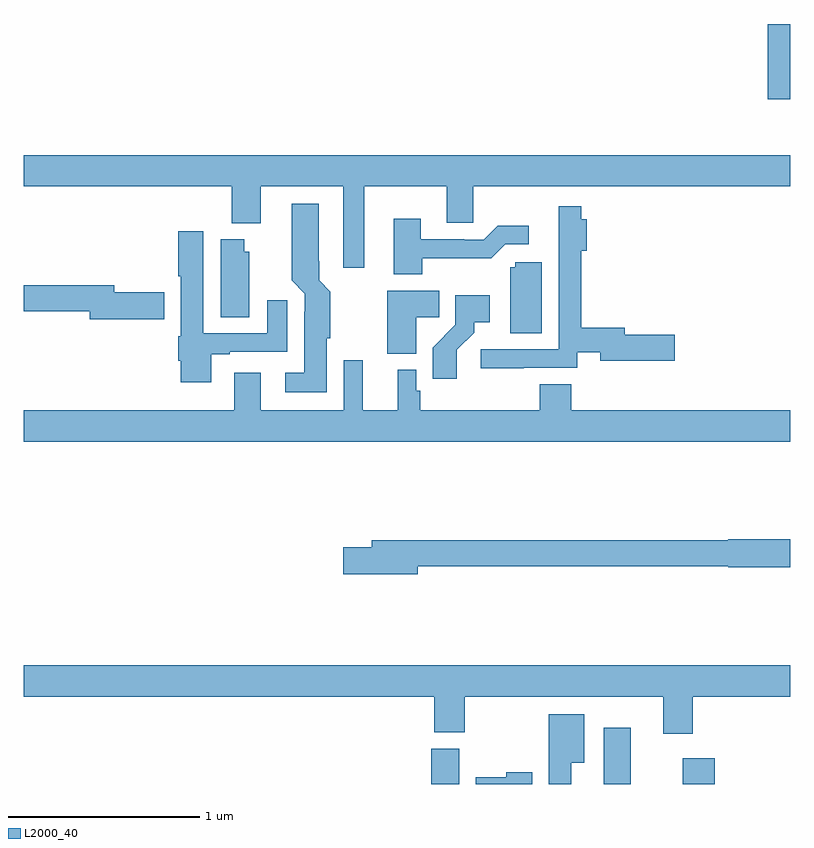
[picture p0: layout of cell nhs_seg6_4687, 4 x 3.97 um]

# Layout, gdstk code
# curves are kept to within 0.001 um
import gdstk
lib = gdstk.Library(unit=1e-6, precision=1e-09)
def R(c, l, rs):  # rectangles x0, y0, x1, y1
    for r in rs: c.add(gdstk.rectangle(r[:2], r[2:], *l))
def P(c, l, *ps):  # polygons
    for p in ps: c.add(gdstk.Polygon(p, *l))
L2000_40 = (2000, 40)

nhs_seg6_4687 = lib.new_cell('nhs_seg6_4687')
R(nhs_seg6_4687, L2000_40, [(389.126,993.5,389.272,993.684), (390.026,993.5,390.169,993.793), (390.44,993.5,390.608,993.634), (390.884,997.074,391,997.468)])
P(nhs_seg6_4687, L2000_40, [(388.777,996.62),(389.207,996.62),(389.207,996.43),(389.346,996.43),(389.346,996.62),(391,996.62),(391,996.784),(387,996.784),(387,996.62),(388.085,996.62),(388.085,996.428),(388.237,996.428),(388.237,996.62),(388.667,996.62),(388.667,996.195),(388.777,996.195)],
  [(388.582,995.826),(388.6,995.826),(388.6,996.071),(388.541,996.13),(388.54,996.529),(388.397,996.529),(388.397,996.13),(388.467,996.06),(388.467,995.966),(388.463,995.966),(388.463,995.647),(388.365,995.647),(388.365,995.546),(388.582,995.546)],
  [(389.609,995.673),(389.889,995.673),(389.889,995.754),(390.008,995.754),(390.008,995.711),(390.397,995.711),(390.397,995.846),(390.136,995.846),(390.136,995.882),(389.909,995.882),(389.909,996.283),(389.939,996.283),(389.939,996.448),(389.909,996.448),(389.909,996.517),(389.792,996.517),(389.792,996.294),(389.793,996.294),(389.793,995.769),(389.385,995.769),(389.385,995.671),(389.609,995.671)],
  [(389.079,996.246),(389.441,996.245),(389.514,996.318),(389.635,996.318),(389.635,996.415),(389.473,996.415),(389.4,996.342),(389.3,996.342),(389.3,996.345),(389.071,996.345),(389.071,996.451),(388.931,996.451),(388.931,996.161),(389.079,996.161)],
  [(387.979,995.745),(388.075,995.745),(388.075,995.757),(388.375,995.757),(388.375,996.025),(388.271,996.025),(388.271,995.853),(387.937,995.853),(387.937,996.385),(387.806,996.385),(387.806,996.151),(387.818,996.151),(387.818,995.837),(387.806,995.837),(387.806,995.71),(387.818,995.71),(387.818,995.598),(387.979,995.598)],
  [(388.177,996.279),(388.15,996.279),(388.15,996.343),(388.028,996.343),(388.028,995.938),(388.177,995.938)],
  [(389.704,996.225),(389.565,996.225),(389.565,996.198),(389.54,996.198),(389.54,995.854),(389.704,995.854)],
  [(387.733,996.068),(387.472,996.068),(387.472,996.104),(387,996.104),(387,995.968),(387.344,995.968),(387.344,995.926),(387.733,995.926)],
  [(389.047,995.938),(389.168,995.938),(389.168,996.076),(388.898,996.076),(388.898,995.747),(389.047,995.747)],
  [(389.26,995.767),(389.35,995.857),(389.35,995.912),(389.431,995.912),(389.431,996.052),(389.253,996.052),(389.253,995.897),(389.134,995.778),(389.134,995.616),(389.26,995.616)],
  [(391,995.452),(389.858,995.452),(389.858,995.588),(389.693,995.588),(389.693,995.452),(389.069,995.452),(389.069,995.553),(389.049,995.553),(389.049,995.662),(388.952,995.662),(388.952,995.452),(388.769,995.452),(388.769,995.713),(388.671,995.713),(388.671,995.452),(388.237,995.452),(388.237,995.647),(388.097,995.647),(388.097,995.452),(387,995.452),(387,995.288),(391,995.288)],
  [(389.056,994.636),(390.678,994.636),(390.678,994.631),(391,994.631),(391,994.778),(390.678,994.778),(390.678,994.772),(388.817,994.772),(388.817,994.736),(388.668,994.736),(388.668,994.594),(389.056,994.594)],
  [(390.491,993.956),(391,993.956),(391,994.12),(387,994.12),(387,993.956),(389.141,993.956),(389.141,993.769),(389.301,993.769),(389.301,993.956),(390.338,993.956),(390.338,993.762),(390.491,993.762)],
  [(389.857,993.611),(389.926,993.611),(389.926,993.865),(389.741,993.865),(389.741,993.5),(389.857,993.5)],
  [(389.653,993.562),(389.517,993.562),(389.517,993.535),(389.36,993.535),(389.36,993.5),(389.653,993.5)])

lib.write_gds('nhs_seg6_4687.gds')
